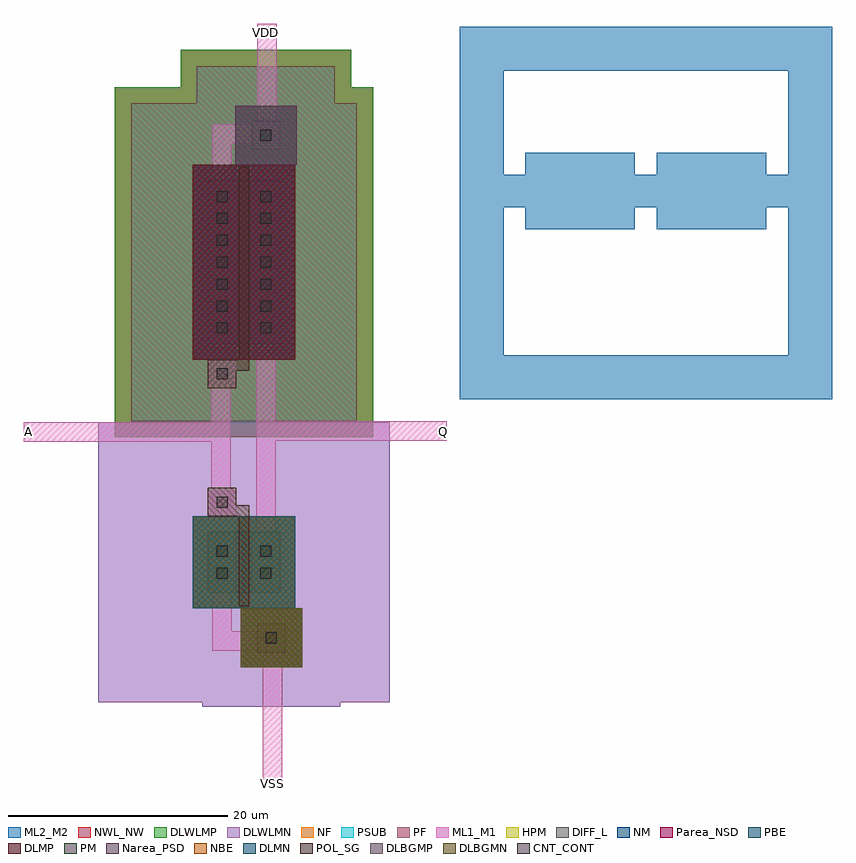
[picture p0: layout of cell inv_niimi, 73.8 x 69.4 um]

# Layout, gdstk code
import gdstk
lib = gdstk.Library(unit=1e-6, precision=1e-07)
def R(c, l, rs):  # rectangles x0, y0, x1, y1
    for r in rs: c.add(gdstk.rectangle(r[:2], r[2:], *l))
DIFF_L = (3, 0)
NM = (7, 0)
POL_SG = (8, 0)
Narea_PSD = (9, 0)
CNT_CONT = (11, 0)
ML1_M1 = (13, 0)
ML2_M2 = (20, 0)
NF = (25, 0)
PF = (26, 0)
Parea_NSD = (28, 0)
HPM = (33, 0)
PM = (35, 0)
NWL_NW = (36, 0)
PSUB = (140, 0)
PBE = (146, 0)
NBE = (147, 0)
DLWLMP = (150, 0)
DLWLMN = (151, 0)
DLMP = (157, 0)
DLMN = (158, 0)
DLBGMP = (177, 0)
DLBGMN = (178, 0)

dcont = lib.new_cell('dcont')
R(dcont, DIFF_L, [(-1.3,-1.3,1.3,1.3)])
R(dcont, CNT_CONT, [(-0.5,-0.5,0.5,0.5)])
R(dcont, ML1_M1, [(-1.3,-1.3,1.3,1.3), (-0.5,-0.5,0.5,0.5)])

pcont = lib.new_cell('pcont')
R(pcont, POL_SG, [(-1.3,-1.3,1.3,1.3)])
R(pcont, CNT_CONT, [(-0.5,-0.5,0.5,0.5)])
R(pcont, ML1_M1, [(-1.3,-1.3,1.3,1.3), (-0.5,-0.5,0.5,0.5)])

c_dcont = lib.new_cell('DCONT')
R(c_dcont, DIFF_L, [(-1.3,-1.3,1.3,1.3)])
R(c_dcont, CNT_CONT, [(-0.5,-0.5,0.5,0.5)])
R(c_dcont, ML1_M1, [(-1.3,-1.3,1.3,1.3), (-0.5,-0.5,0.5,0.5)])

nsubcont = lib.new_cell('nsubcont')
R(nsubcont, NM, [(-2.8,-2.7,2.8,2.7)])
R(nsubcont, Narea_PSD, [(-2.8,-2.7,2.8,2.7)])
R(nsubcont, NF, [(-6.3,-6.3,6.3,6.3)])
R(nsubcont, PF, [(-6.3,-6.3,6.3,6.3)])
R(nsubcont, HPM, [(-2.8,-2.7,2.8,2.7)])
R(nsubcont, PM, [(-2.8,-2.7,2.8,2.7)])
R(nsubcont, NWL_NW, [(-7.8,-7.8,7.8,7.8)])
R(nsubcont, PSUB, [(-6.3,-6.3,6.3,6.3)])
R(nsubcont, DLWLMP, [(-7.8,-7.8,7.8,7.8)])
R(nsubcont, DLBGMP, [(-2.8,-2.7,2.8,2.7)])
nsubcont.add(gdstk.Reference(c_dcont, (0,0)))

c_mp = lib.new_cell('MP')
R(c_mp, DIFF_L, [(0,3.6,6.6,18.6)])
R(c_mp, NM, [(-1.4,2.2,8,20)])
R(c_mp, NF, [(-7,-3.4,13.6,25.6)])
R(c_mp, PF, [(-7,-3.4,13.6,25.6)])
R(c_mp, Parea_NSD, [(-1.4,2.2,8,20)])
R(c_mp, HPM, [(-1.4,2.2,8,20)])
R(c_mp, NWL_NW, [(-8.5,-4.9,15.1,27.1)])
R(c_mp, PSUB, [(-7,-3.4,13.6,25.6)])
R(c_mp, PBE, [(-1.4,2.2,8,20)])
R(c_mp, DLWLMP, [(-8.5,-4.9,15.1,27.1)])
R(c_mp, DLMP, [(-1.4,2.2,8,20)])
c_mp.add(gdstk.FlexPath([(1.3,3.6),(1.3,18.6)], 2.6, ends="flush", simple_path=True, layer=13, datatype=0))  # ML1_M1
c_mp.add(gdstk.FlexPath([(5.3,3.6),(5.3,18.6)], 2.6, ends="flush", simple_path=True, layer=13, datatype=0))  # ML1_M1
c_mp.add(gdstk.FlexPath([(1.3,17.6),(1.3,20.9)], 1.8, ends="flush", simple_path=True, layer=13, datatype=0))  # ML1_M1
c_mp.add(gdstk.FlexPath([(5.3,1.3),(5.3,4.6)], 1.8, ends="flush", simple_path=True, layer=13, datatype=0))  # ML1_M1
c_mp.add(gdstk.FlexPath([(3.3,3.6),(3.3,18.6)], 1, ends=(1.2, 1.2), simple_path=True, layer=8, datatype=0))  # POL_SG
c_mp.add(gdstk.FlexPath([(1.3,1.7),(3.3,1.7),(3.3,2.4)], 1, ends="flush", simple_path=True, layer=8, datatype=0))  # POL_SG
c_mp.add(gdstk.Reference(dcont, (1.3,5.1)))
c_mp.add(gdstk.Reference(dcont, (1.3,7.1)))
c_mp.add(gdstk.Reference(dcont, (1.3,9.1)))
c_mp.add(gdstk.Reference(dcont, (1.3,11.1)))
c_mp.add(gdstk.Reference(dcont, (1.3,13.1)))
c_mp.add(gdstk.Reference(dcont, (1.3,15.1)))
c_mp.add(gdstk.Reference(dcont, (1.3,17.1)))
c_mp.add(gdstk.Reference(dcont, (5.3,5.1)))
c_mp.add(gdstk.Reference(dcont, (5.3,7.1)))
c_mp.add(gdstk.Reference(dcont, (5.3,9.1)))
c_mp.add(gdstk.Reference(dcont, (5.3,11.1)))
c_mp.add(gdstk.Reference(dcont, (5.3,13.1)))
c_mp.add(gdstk.Reference(dcont, (5.3,15.1)))
c_mp.add(gdstk.Reference(dcont, (5.3,17.1)))
c_mp.add(gdstk.Reference(pcont, (1.3,0.9)))
c_mp.add(gdstk.Reference(nsubcont, (5.3,22.7)))

psubcont = lib.new_cell('psubcont')
R(psubcont, NM, [(-2.8,-2.7,2.8,2.7)])
R(psubcont, Parea_NSD, [(-2.8,-2.7,2.8,2.7)])
R(psubcont, HPM, [(-2.8,-2.7,2.8,2.7)])
R(psubcont, PM, [(-2.8,-2.7,2.8,2.7)])
R(psubcont, DLWLMN, [(-6.3,-6.3,6.3,6.3)])
R(psubcont, DLBGMN, [(-2.8,-2.7,2.8,2.7)])
psubcont.add(gdstk.Reference(c_dcont, (0,0)))

mn_1 = lib.new_cell('MN$1')
R(mn_1, DIFF_L, [(0,3.6,6.6,9.2)])
R(mn_1, Narea_PSD, [(-1.4,2.2,8,10.6)])
R(mn_1, HPM, [(-1.4,2.2,8,10.6)])
R(mn_1, PM, [(-1.4,2.2,8,10.6)])
R(mn_1, NBE, [(-1.4,2.2,8,10.6)])
R(mn_1, DLWLMN, [(-10,-6.4,16.6,19.2)])
R(mn_1, DLMN, [(-1.4,2.2,8,10.6)])
mn_1.add(gdstk.FlexPath([(1.3,3.6),(1.3,9.2)], 2.6, ends="flush", simple_path=True, layer=13, datatype=0))  # ML1_M1
mn_1.add(gdstk.FlexPath([(5.3,3.6),(5.3,9.2)], 2.6, ends="flush", simple_path=True, layer=13, datatype=0))  # ML1_M1
mn_1.add(gdstk.FlexPath([(1.3,1.3),(1.3,4.6)], 1.8, ends="flush", simple_path=True, layer=13, datatype=0))  # ML1_M1
mn_1.add(gdstk.FlexPath([(5.3,8.2),(5.3,11.5)], 1.8, ends="flush", simple_path=True, layer=13, datatype=0))  # ML1_M1
mn_1.add(gdstk.FlexPath([(3.3,3.6),(3.3,9.2)], 1, ends=(1.2, 1.2), simple_path=True, layer=8, datatype=0))  # POL_SG
mn_1.add(gdstk.FlexPath([(1.3,11.1),(3.3,11.1),(3.3,10.4)], 1, ends="flush", simple_path=True, layer=8, datatype=0))  # POL_SG
mn_1.add(gdstk.Reference(dcont, (1.3,5.4)))
mn_1.add(gdstk.Reference(dcont, (1.3,7.4)))
mn_1.add(gdstk.Reference(dcont, (5.3,5.4)))
mn_1.add(gdstk.Reference(dcont, (5.3,7.4)))
mn_1.add(gdstk.Reference(pcont, (1.3,11.9)))
mn_1.add(gdstk.Reference(psubcont, (5.8,-0.5)))

inv_niimi = lib.new_cell('inv_niimi')
R(inv_niimi, ML2_M2, [(39.1,38.5,49.1,45.5), (39.1,38.5,49.1,45.5), (39.1,38.5,49.1,45.5), (39.1,38.5,49.1,45.5), (39.1,38.5,49.1,45.5), (39.1,38.5,49.1,45.5), (39.1,38.5,49.1,45.5), (39.1,38.5,49.1,45.5), (39.1,38.5,49.1,45.5), (39.1,38.5,49.1,45.5), (39.1,38.5,49.1,45.5), (39.1,38.5,49.1,45.5), (39.1,38.5,49.1,45.5), (39.1,38.5,49.1,45.5), (39.1,38.5,49.1,45.5), (39.1,38.5,49.1,45.5), (39.1,38.5,49.1,45.5), (39.1,38.5,49.1,45.5), (39.1,38.5,49.1,45.5), (39.1,38.5,49.1,45.5), (39.1,38.5,49.1,45.5), (39.1,38.5,49.1,45.5), (39.1,38.5,49.1,45.5), (39.1,38.5,49.1,45.5), (39.1,38.5,49.1,45.5), (39.1,38.5,49.1,45.5), (39.1,38.5,49.1,45.5), (39.1,38.5,49.1,45.5), (39.1,38.5,49.1,45.5), (39.1,38.5,49.1,45.5), (51.1,38.5,61.1,45.5), (51.1,38.5,61.1,45.5), (51.1,38.5,61.1,45.5), (51.1,38.5,61.1,45.5), (51.1,38.5,61.1,45.5), (51.1,38.5,61.1,45.5), (51.1,38.5,61.1,45.5), (51.1,38.5,61.1,45.5), (51.1,38.5,61.1,45.5), (51.1,38.5,61.1,45.5), (51.1,38.5,61.1,45.5), (51.1,38.5,61.1,45.5), (51.1,38.5,61.1,45.5), (51.1,38.5,61.1,45.5), (51.1,38.5,61.1,45.5), (51.1,38.5,61.1,45.5), (51.1,38.5,61.1,45.5), (51.1,38.5,61.1,45.5), (51.1,38.5,61.1,45.5), (51.1,38.5,61.1,45.5), (51.1,38.5,61.1,45.5), (51.1,38.5,61.1,45.5), (51.1,38.5,61.1,45.5), (51.1,38.5,61.1,45.5), (51.1,38.5,61.1,45.5), (51.1,38.5,61.1,45.5), (51.1,38.5,61.1,45.5), (51.1,38.5,61.1,45.5), (51.1,38.5,61.1,45.5), (51.1,38.5,61.1,45.5)])
inv_niimi.add(gdstk.FlexPath([(11.2,20),(-5.8,20),(-5.8,19.1)], 1.8, ends="flush", simple_path=True, layer=13, datatype=0))  # ML1_M1
inv_niimi.add(gdstk.FlexPath([(14.6,20.1),(31.9,20.1)], 1.8, ends="flush", simple_path=True, layer=13, datatype=0))  # ML1_M1
inv_niimi.add(gdstk.FlexPath([(16,0.9),(11.4,0.9),(11.4,3.2),(11.4,3.2),(11.4,3.2)], 1.8, ends="flush", simple_path=True, layer=13, datatype=0))  # ML1_M1
inv_niimi.add(gdstk.FlexPath([(16,2.3),(16,-12.1)], 1.8, ends="flush", simple_path=True, layer=13, datatype=0))  # ML1_M1
inv_niimi.add(gdstk.FlexPath([(11.4,45),(11.4,47.2),(15.5,47.2),(15.5,57.3)], 1.8, ends="flush", simple_path=True, layer=13, datatype=0))  # ML1_M1
inv_niimi.add(gdstk.FlexPath([(15.4,27.4),(15.4,12.9),(14.5,12.9),(14.5,12.9)], 1.8, ends="flush", simple_path=True, layer=13, datatype=0))  # ML1_M1
inv_niimi.add(gdstk.FlexPath([(11.3,24.3),(11.3,14)], 1.8, ends="flush", simple_path=True, layer=13, datatype=0))  # ML1_M1
inv_niimi.add(gdstk.FlexPath([(35.1,55),(35.1,25),(65.1,25),(65.1,55),(33.1,55)], 4, ends="flush", simple_path=True, layer=20, datatype=0))  # ML2_M2
inv_niimi.add(gdstk.FlexPath([(35.1,42),(65.1,42),(65.1,42)], 3, ends="flush", simple_path=True, layer=20, datatype=0))  # ML2_M2
inv_niimi.add(gdstk.FlexPath([(35.1,55),(35.1,25),(65.1,25),(65.1,55),(33.1,55)], 4, ends="flush", simple_path=True, layer=20, datatype=0))  # ML2_M2
inv_niimi.add(gdstk.FlexPath([(35.1,42),(65.1,42),(65.1,42)], 3, ends="flush", simple_path=True, layer=20, datatype=0))  # ML2_M2
inv_niimi.add(gdstk.FlexPath([(35.1,55),(35.1,25),(65.1,25),(65.1,55),(33.1,55)], 4, ends="flush", simple_path=True, layer=20, datatype=0))  # ML2_M2
inv_niimi.add(gdstk.FlexPath([(35.1,42),(65.1,42),(65.1,42)], 3, ends="flush", simple_path=True, layer=20, datatype=0))  # ML2_M2
inv_niimi.add(gdstk.FlexPath([(35.1,55),(35.1,25),(65.1,25),(65.1,55),(33.1,55)], 4, ends="flush", simple_path=True, layer=20, datatype=0))  # ML2_M2
inv_niimi.add(gdstk.FlexPath([(35.1,42),(65.1,42),(65.1,42)], 3, ends="flush", simple_path=True, layer=20, datatype=0))  # ML2_M2
inv_niimi.add(gdstk.FlexPath([(35.1,55),(35.1,25),(65.1,25),(65.1,55),(33.1,55)], 4, ends="flush", simple_path=True, layer=20, datatype=0))  # ML2_M2
inv_niimi.add(gdstk.FlexPath([(35.1,42),(65.1,42),(65.1,42)], 3, ends="flush", simple_path=True, layer=20, datatype=0))  # ML2_M2
inv_niimi.add(gdstk.FlexPath([(35.1,55),(35.1,25),(65.1,25),(65.1,55),(33.1,55)], 4, ends="flush", simple_path=True, layer=20, datatype=0))  # ML2_M2
inv_niimi.add(gdstk.FlexPath([(35.1,42),(65.1,42),(65.1,42)], 3, ends="flush", simple_path=True, layer=20, datatype=0))  # ML2_M2
inv_niimi.add(gdstk.FlexPath([(35.1,55),(35.1,25),(65.1,25),(65.1,55),(33.1,55)], 4, ends="flush", simple_path=True, layer=20, datatype=0))  # ML2_M2
inv_niimi.add(gdstk.FlexPath([(35.1,42),(65.1,42),(65.1,42)], 3, ends="flush", simple_path=True, layer=20, datatype=0))  # ML2_M2
inv_niimi.add(gdstk.FlexPath([(35.1,55),(35.1,25),(65.1,25),(65.1,55),(33.1,55)], 4, ends="flush", simple_path=True, layer=20, datatype=0))  # ML2_M2
inv_niimi.add(gdstk.FlexPath([(35.1,42),(65.1,42),(65.1,42)], 3, ends="flush", simple_path=True, layer=20, datatype=0))  # ML2_M2
inv_niimi.add(gdstk.FlexPath([(35.1,55),(35.1,25),(65.1,25),(65.1,55),(33.1,55)], 4, ends="flush", simple_path=True, layer=20, datatype=0))  # ML2_M2
inv_niimi.add(gdstk.FlexPath([(35.1,42),(65.1,42),(65.1,42)], 3, ends="flush", simple_path=True, layer=20, datatype=0))  # ML2_M2
inv_niimi.add(gdstk.FlexPath([(35.1,55),(35.1,25),(65.1,25),(65.1,55),(33.1,55)], 4, ends="flush", simple_path=True, layer=20, datatype=0))  # ML2_M2
inv_niimi.add(gdstk.FlexPath([(35.1,42),(65.1,42),(65.1,42)], 3, ends="flush", simple_path=True, layer=20, datatype=0))  # ML2_M2
inv_niimi.add(gdstk.FlexPath([(35.1,55),(35.1,25),(65.1,25),(65.1,55),(33.1,55)], 4, ends="flush", simple_path=True, layer=20, datatype=0))  # ML2_M2
inv_niimi.add(gdstk.FlexPath([(35.1,42),(65.1,42),(65.1,42)], 3, ends="flush", simple_path=True, layer=20, datatype=0))  # ML2_M2
inv_niimi.add(gdstk.FlexPath([(35.1,55),(35.1,25),(65.1,25),(65.1,55),(33.1,55)], 4, ends="flush", simple_path=True, layer=20, datatype=0))  # ML2_M2
inv_niimi.add(gdstk.FlexPath([(35.1,42),(65.1,42),(65.1,42)], 3, ends="flush", simple_path=True, layer=20, datatype=0))  # ML2_M2
inv_niimi.add(gdstk.FlexPath([(35.1,55),(35.1,25),(65.1,25),(65.1,55),(33.1,55)], 4, ends="flush", simple_path=True, layer=20, datatype=0))  # ML2_M2
inv_niimi.add(gdstk.FlexPath([(35.1,42),(65.1,42),(65.1,42)], 3, ends="flush", simple_path=True, layer=20, datatype=0))  # ML2_M2
inv_niimi.add(gdstk.FlexPath([(35.1,55),(35.1,25),(65.1,25),(65.1,55),(33.1,55)], 4, ends="flush", simple_path=True, layer=20, datatype=0))  # ML2_M2
inv_niimi.add(gdstk.FlexPath([(35.1,42),(65.1,42),(65.1,42)], 3, ends="flush", simple_path=True, layer=20, datatype=0))  # ML2_M2
inv_niimi.add(gdstk.FlexPath([(35.1,55),(35.1,25),(65.1,25),(65.1,55),(33.1,55)], 4, ends="flush", simple_path=True, layer=20, datatype=0))  # ML2_M2
inv_niimi.add(gdstk.FlexPath([(35.1,42),(65.1,42),(65.1,42)], 3, ends="flush", simple_path=True, layer=20, datatype=0))  # ML2_M2
inv_niimi.add(gdstk.FlexPath([(35.1,55),(35.1,25),(65.1,25),(65.1,55),(33.1,55)], 4, ends="flush", simple_path=True, layer=20, datatype=0))  # ML2_M2
inv_niimi.add(gdstk.FlexPath([(35.1,42),(65.1,42),(65.1,42)], 3, ends="flush", simple_path=True, layer=20, datatype=0))  # ML2_M2
inv_niimi.add(gdstk.FlexPath([(35.1,55),(35.1,25),(65.1,25),(65.1,55),(33.1,55)], 4, ends="flush", simple_path=True, layer=20, datatype=0))  # ML2_M2
inv_niimi.add(gdstk.FlexPath([(35.1,42),(65.1,42),(65.1,42)], 3, ends="flush", simple_path=True, layer=20, datatype=0))  # ML2_M2
inv_niimi.add(gdstk.FlexPath([(35.1,55),(35.1,25),(65.1,25),(65.1,55),(33.1,55)], 4, ends="flush", simple_path=True, layer=20, datatype=0))  # ML2_M2
inv_niimi.add(gdstk.FlexPath([(35.1,42),(65.1,42),(65.1,42)], 3, ends="flush", simple_path=True, layer=20, datatype=0))  # ML2_M2
inv_niimi.add(gdstk.FlexPath([(35.1,55),(35.1,25),(65.1,25),(65.1,55),(33.1,55)], 4, ends="flush", simple_path=True, layer=20, datatype=0))  # ML2_M2
inv_niimi.add(gdstk.FlexPath([(35.1,42),(65.1,42),(65.1,42)], 3, ends="flush", simple_path=True, layer=20, datatype=0))  # ML2_M2
inv_niimi.add(gdstk.FlexPath([(35.1,55),(35.1,25),(65.1,25),(65.1,55),(33.1,55)], 4, ends="flush", simple_path=True, layer=20, datatype=0))  # ML2_M2
inv_niimi.add(gdstk.FlexPath([(35.1,42),(65.1,42),(65.1,42)], 3, ends="flush", simple_path=True, layer=20, datatype=0))  # ML2_M2
inv_niimi.add(gdstk.FlexPath([(35.1,55),(35.1,25),(65.1,25),(65.1,55),(33.1,55)], 4, ends="flush", simple_path=True, layer=20, datatype=0))  # ML2_M2
inv_niimi.add(gdstk.FlexPath([(35.1,42),(65.1,42),(65.1,42)], 3, ends="flush", simple_path=True, layer=20, datatype=0))  # ML2_M2
inv_niimi.add(gdstk.FlexPath([(35.1,55),(35.1,25),(65.1,25),(65.1,55),(33.1,55)], 4, ends="flush", simple_path=True, layer=20, datatype=0))  # ML2_M2
inv_niimi.add(gdstk.FlexPath([(35.1,42),(65.1,42),(65.1,42)], 3, ends="flush", simple_path=True, layer=20, datatype=0))  # ML2_M2
inv_niimi.add(gdstk.FlexPath([(35.1,55),(35.1,25),(65.1,25),(65.1,55),(33.1,55)], 4, ends="flush", simple_path=True, layer=20, datatype=0))  # ML2_M2
inv_niimi.add(gdstk.FlexPath([(35.1,42),(65.1,42),(65.1,42)], 3, ends="flush", simple_path=True, layer=20, datatype=0))  # ML2_M2
inv_niimi.add(gdstk.FlexPath([(35.1,55),(35.1,25),(65.1,25),(65.1,55),(33.1,55)], 4, ends="flush", simple_path=True, layer=20, datatype=0))  # ML2_M2
inv_niimi.add(gdstk.FlexPath([(35.1,42),(65.1,42),(65.1,42)], 3, ends="flush", simple_path=True, layer=20, datatype=0))  # ML2_M2
inv_niimi.add(gdstk.FlexPath([(35.1,55),(35.1,25),(65.1,25),(65.1,55),(33.1,55)], 4, ends="flush", simple_path=True, layer=20, datatype=0))  # ML2_M2
inv_niimi.add(gdstk.FlexPath([(35.1,42),(65.1,42),(65.1,42)], 3, ends="flush", simple_path=True, layer=20, datatype=0))  # ML2_M2
inv_niimi.add(gdstk.FlexPath([(35.1,55),(35.1,25),(65.1,25),(65.1,55),(33.1,55)], 4, ends="flush", simple_path=True, layer=20, datatype=0))  # ML2_M2
inv_niimi.add(gdstk.FlexPath([(35.1,42),(65.1,42),(65.1,42)], 3, ends="flush", simple_path=True, layer=20, datatype=0))  # ML2_M2
inv_niimi.add(gdstk.FlexPath([(35.1,55),(35.1,25),(65.1,25),(65.1,55),(33.1,55)], 4, ends="flush", simple_path=True, layer=20, datatype=0))  # ML2_M2
inv_niimi.add(gdstk.FlexPath([(35.1,42),(65.1,42),(65.1,42)], 3, ends="flush", simple_path=True, layer=20, datatype=0))  # ML2_M2
inv_niimi.add(gdstk.FlexPath([(35.1,55),(35.1,25),(65.1,25),(65.1,55),(33.1,55)], 4, ends="flush", simple_path=True, layer=20, datatype=0))  # ML2_M2
inv_niimi.add(gdstk.FlexPath([(35.1,42),(65.1,42),(65.1,42)], 3, ends="flush", simple_path=True, layer=20, datatype=0))  # ML2_M2
inv_niimi.add(gdstk.FlexPath([(35.1,55),(35.1,25),(65.1,25),(65.1,55),(33.1,55)], 4, ends="flush", simple_path=True, layer=20, datatype=0))  # ML2_M2
inv_niimi.add(gdstk.FlexPath([(35.1,42),(65.1,42),(65.1,42)], 3, ends="flush", simple_path=True, layer=20, datatype=0))  # ML2_M2
inv_niimi.add(gdstk.FlexPath([(35.1,55),(35.1,25),(65.1,25),(65.1,55),(33.1,55)], 4, ends="flush", simple_path=True, layer=20, datatype=0))  # ML2_M2
inv_niimi.add(gdstk.FlexPath([(35.1,42),(65.1,42),(65.1,42)], 3, ends="flush", simple_path=True, layer=20, datatype=0))  # ML2_M2
inv_niimi.add(gdstk.Reference(c_mp, (10.1,24.4)))
inv_niimi.add(gdstk.Reference(mn_1, (10.1,1.7)))
inv_niimi.add(gdstk.Label('Q', (31.6,20), layer=13, texttype=0))
inv_niimi.add(gdstk.Label('A', (-6.3,20), layer=13, texttype=0))
inv_niimi.add(gdstk.Label('VSS', (16,-12.1), layer=13, texttype=0))
inv_niimi.add(gdstk.Label('VDD', (15.4,56.5), layer=13, texttype=0))

lib.write_gds('inv_niimi.gds')
